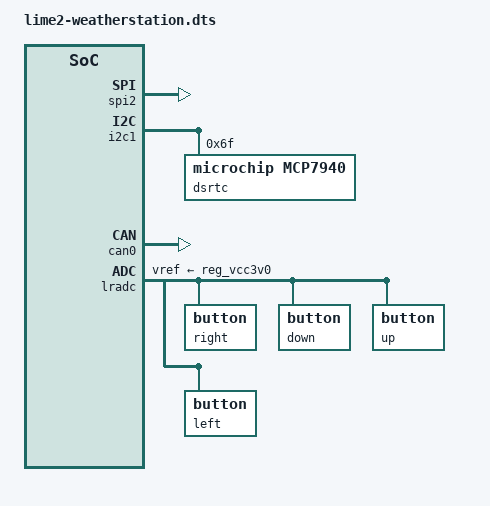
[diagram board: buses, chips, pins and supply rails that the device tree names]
#include "sun7i-a20-olinuxino-lime2.dts"

&ahci {
	status = "disabled";
};

&de {
	status = "disabled";
};

&hdmi {
	status = "disabled";
};

&spi2 {
	pinctrl-names = "default";
	pinctrl-0 = <&spi2_pc_pins>, <&spi2_cs0_pc_pin>;
	status = "okay";
};

&rtc {
	status = "disabled";
};

&i2c1 {
	pinctrl-names = "default";
	pinctrl-0 = <&i2c1_pins>;
	status = "okay";

	dsrtc: dsrtc@6f {
		compatible = "microchip,mcp7940";
		reg = <0x6f>;
	};

};

&can0 {
	pinctrl-names = "default";
	pinctrl-0 = <&can_ph_pins>;
	status = "okay";
};

&lradc {
	vref-supply = <&reg_vcc3v0>;
	status = "okay";
	button@right {
		label = "right";
		channel = <0>;
		voltage = <191000>;
	};
	button@down {
		label = "down";
		channel = <0>;
		voltage = <391000>;
	};
	button@up {
		label = "up";
		channel = <0>;
		voltage = <600000>;
	};
	button@left {
		label = "left";
		channel = <0>;
		voltage = <794000>;
	};
};
